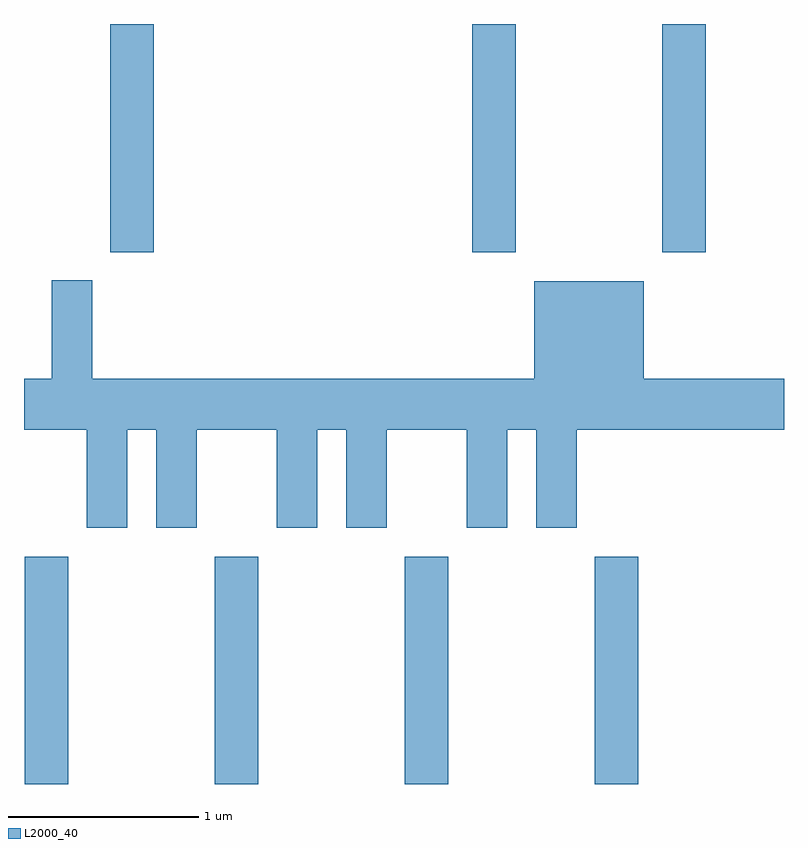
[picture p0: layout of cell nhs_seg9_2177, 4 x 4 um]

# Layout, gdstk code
import gdstk
lib = gdstk.Library(unit=1e-6, precision=1e-09)
def R(c, l, rs):  # rectangles x0, y0, x1, y1
    for r in rs: c.add(gdstk.rectangle(r[:2], r[2:], *l))
def A(c, l, x, y, w, h, nx, ny, dx, dy):  # array of equal rectangles
    R(c, l, [(x+i*dx, y+j*dy, x+i*dx+w, y+j*dy+h) for i in range(nx) for j in range(ny)])
def P(c, l, *ps):  # polygons
    for p in ps: c.add(gdstk.Polygon(p, *l))
L2000_40 = (2000, 40)

nhs_seg9_2177 = lib.new_cell('nhs_seg9_2177')
A(nhs_seg9_2177, L2000_40, 249.616, 1954.432, 0.228, 1.197, 4, 1, 1, 0)
R(nhs_seg9_2177, L2000_40, [(250.066,1957.231,250.294,1958.432), (251.971,1957.231,252.199,1958.432), (252.971,1957.231,253.199,1958.432)])
P(nhs_seg9_2177, L2000_40, [(250.154,1956.296),(250.306,1956.296),(250.306,1955.781),(250.519,1955.781),(250.519,1956.296),(250.941,1956.296),(250.941,1955.781),(251.154,1955.781),(251.154,1956.296),(251.306,1956.296),(251.306,1955.781),(251.519,1955.781),(251.519,1956.296),(251.941,1956.296),(251.941,1955.781),(252.154,1955.781),(252.154,1956.296),(252.306,1956.296),(252.306,1955.781),(252.519,1955.781),(252.519,1956.296),(253.611,1956.296),(253.611,1956.564),(252.874,1956.564),(252.874,1957.079),(252.296,1957.079),(252.296,1956.564),(249.969,1956.564),(249.969,1957.084),(249.756,1957.084),(249.756,1956.564),(249.611,1956.564),(249.611,1956.296),(249.941,1956.296),(249.941,1955.781),(250.154,1955.781)])

lib.write_gds('nhs_seg9_2177.gds')
